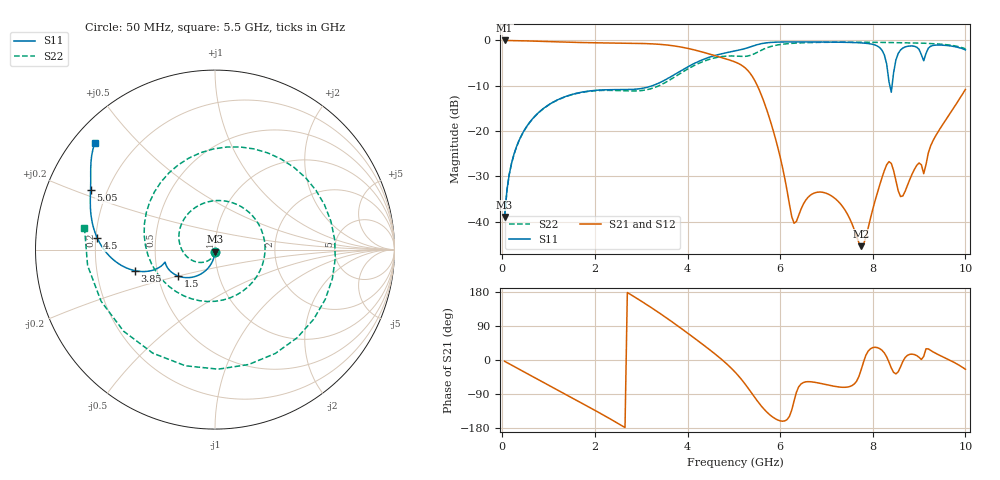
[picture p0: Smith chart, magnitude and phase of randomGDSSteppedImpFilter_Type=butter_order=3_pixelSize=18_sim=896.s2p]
! freq	dB(S11)	phase(S11)	dB(S12)	phase(S12)
!  dB(S21)	phase(S21)	dB(S22)	phase(S22)
!S-par simulation data
#  GHz  S  DB  R 50
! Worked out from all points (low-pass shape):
!   200 points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, 50 MHz to 10 GHz, reference 50 ohm
!   highest |S21| = -0.01 dB at 50 MHz (marker M1); lowest = -45.4 dB at 7.75 GHz (marker M2)
!   |S21| within 3 dB of the highest: start of sweep to 4.475 GHz
!   lowest |S11| = -39.0 dB at 50 MHz (marker M3), VSWR 1.02, Z = 50 - j1.13 ohm
!   |S11| at or under -10 dB: start of sweep to 3.238 GHz; 8.369 GHz to 8.416 GHz (47.32 MHz wide, 0.564 % of centre)
!   |S22| runs from -39.0 to -0.4 dB; largest |S21 - S12| = 0
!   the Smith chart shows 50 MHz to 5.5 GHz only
!   S11 on the Smith chart (normalised r, x): 50 MHz: 1.00, -0.02; 1.5 GHz: 0.63, -0.20; 3.85 GHz: 0.37, -0.11; 4.5 GHz: 0.21, +0.05; 5.05 GHz: 0.14, +0.22; 5.5 GHz: 0.06, +0.38
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0.05  -38.96 -90.5  -0.01 -3.4  -0.01 -3.4  -38.99 -93.3
0.45  -20.26 -108.0  -0.08 -30.1  -0.08 -30.1  -20.32 -132.9
1.5  -11.93 -144.6  -0.41 -99.4  -0.41 -99.4  -11.98 124.7
1.75  -11.35 -151.4  -0.47 -116.0  -0.47 -116.0  -11.41 98.5
2.65  -10.86 -165.8  -0.60 -178.3  -0.60 -178.3  -11.12 -10.7
3.4  -9.32 -161.8  -0.87 123.3  -0.87 123.3  -9.92 -132.8
3.85  -6.73 -165.2  -1.44 84.6  -1.44 84.6  -7.25 152.0
4.5  -3.61 174.3  -3.08 25.0  -3.08 25.0  -4.08 53.7
4.8  -2.80 163.0  -3.98 -5.2  -3.98 -5.2  -3.49 4.9
5.05  -2.29 154.5  -4.86 -35.0  -4.86 -35.0  -3.46 -47.1
5.25  -1.78 148.2  -6.11 -64.6  -6.11 -64.6  -3.50 -104.3
5.5  -0.95 138.3  -9.82 -106.9  -9.82 -106.9  -2.65 170.6
5.85  -0.41 121.2  -19.88 -151.5  -19.88 -151.5  -1.19 84.3
6.3  -0.33 101.5  -40.32 -108.3  -40.32 -108.3  -0.61 27.0
6.7  -0.34 85.0  -33.83 -58.0  -33.83 -58.0  -0.46 -4.2
7.75  -0.54 35.6  -45.38 -25.4  -45.38 -25.4  -0.40 -57.8
8.15  -1.59 -4.2  -31.87 30.0  -31.87 30.0  -0.43 -73.7
8.35  -9.12 -93.5  -26.74 -5.6  -26.74 -5.6  -0.46 -81.2
8.45  -7.09 121.4  -28.71 -32.7  -28.71 -32.7  -0.47 -84.9
8.6  -2.10 61.2  -34.44 -18.0  -34.44 -18.0  -0.49 -90.5
9.35  -1.04 4.6  -21.18 18.2  -21.18 18.2  -0.75 -119.4
10  -2.08 -40.0  -10.81 -24.5  -10.81 -24.5  -1.86 -154.3
